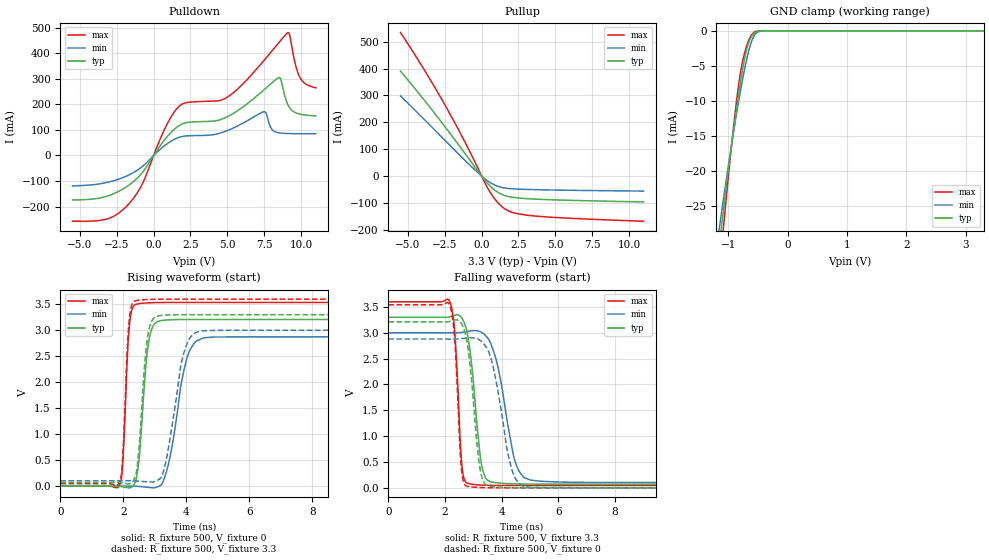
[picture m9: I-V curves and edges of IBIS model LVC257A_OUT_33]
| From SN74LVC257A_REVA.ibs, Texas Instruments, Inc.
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[Model]   LVC257A_OUT_33
Model_type  3-state
Enable   Active-Low
Vref =   0
Rref =   500
Cref =   50p
Vmeas =   1.5
| variable   typ   min   max
C_comp   3.87pF   3.44pF   4.37pF
| C_pullup   5.67pF   3.89pF   6.42pF
| C_pulldown   7.10pF   3.96pF   10.86pF
| C_tri-state   3.87pF   3.44pF   4.37pF
[Temperature Range]   40   100   -40
| Ambient temperature   25   85   -40
[Voltage range]   3.3   3   3.6
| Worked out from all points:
|   slope of the pulldown table from 0 to 0.495 V, typ, clamps not added: 11.7 ohm
|   slope of the pullup table from 0 to 0.495 V, typ, clamps not added: 15.2 ohm
|   GND clamp passes 1 mA (typ) near -0.62 V on its own axis
|   rising waveform, R_fixture 500, V_fixture 0: 20-80 % time 239ps typ, 465ps min, 154ps max; typ from 0 V to 3.21 V
|   falling waveform, R_fixture 500, V_fixture 3.3: 20-80 % time 341ps typ, 565ps min, 194ps max; typ from 3.3 V to 0.071 V
|   rising waveform, R_fixture 500, V_fixture 3.3: 20-80 % time 228ps typ, 444ps min, 150ps max; typ from 0.071 V to 3.3 V
|   falling waveform, R_fixture 500, V_fixture 0: 20-80 % time 328ps typ, 543ps min, 188ps max; typ from 3.21 V to 0 V
[GND Clamp]
| LVC257A_OUT_33
|   Voltage   I(typ)   I(min)   I(max)
-5.5V     -447.4mA   -374mA     -553.8mA
-1.145V   -30.24mA   -27.87mA   -34.04mA
-1.105V   -27.35mA   -25.48mA   -30.34mA
-1.07V    -24.87mA   -23.41mA   -27.18mA
-905mV    -13.87mA   -14.2mA    -13.36mA
-840mV    -9.957mA   -10.85mA   -8.717mA
-795mV    -7.448mA   -8.655mA   -6.079mA
-685mV    -2.54mA    -3.947mA   -2.049mA
-635mV    -1.254mA   -2.275mA   -976.8uA
-575mV    -459.9uA   -885uA     -283.9uA
-420mV    -12.26uA   -23.08uA   -2.327uA
3.3V      65.47pA    907.3nA    32.22pA
[Pulldown]
| LVC257A_OUT_33
|   Voltage   I(typ)   I(min)   I(max)
-5.5V     -174mA     -118.9mA   -257mA
-2.09V    -131.3mA   -86.3mA    -212.4mA
-850mV    -72.3mA    -46.97mA   -120.3mA
685mV     57.04mA    35.88mA    96.01mA
1.64V     113.4mA    69.22mA    187.4mA
4.87V     147.9mA    94.37mA    223.8mA
7.5V      257.4mA    171.2mA    372.5mA
8.005V    282.8mA    103.5mA    407.2mA
8.505V    304.5mA    88.64mA    441.8mA
9.1V      199.6mA    85.91mA    479.9mA
9.905V    162.1mA    85.09mA    307.5mA
11V       154.7mA    85.22mA    264.7mA
[Pullup]
| LVC257A_OUT_33
|   Voltage   I(typ)   I(min)   I(max)
-5.5V     390.3mA    298mA      533.9mA
-3.93V    285.2mA    212.8mA    398.9mA
-2.465V   182.3mA    131.8mA    262.5mA
-1.17V    87.54mA    60.83mA    131mA
15mV      -1.121mA   -739.4uA   -1.785mA
370mV     -25.16mA   -16.4mA    -40.42mA
730mV     -44.72mA   -28.76mA   -72.63mA
1.095V    -59.77mA   -37.78mA   -98.31mA
1.46V     -70.17mA   -43.42mA   -117.2mA
2.185V    -79.55mA   -47.62mA   -136.6mA
3.475V    -85.23mA   -50.32mA   -147.9mA
11V       -96.33mA   -55.93mA   -168.3mA
[Ramp]
| LVC257A_OUT_33
| variable   typ   min   max
dV/dt_r   1.95/2.48E-10   1.75/4.92E-10   2.14/1.63E-10
dV/dt_f   1.97/3.60E-10   1.77/5.91E-10   2.16/2.05E-10
R_load = 500
[Rising Waveform]
| LVC257A_OUT_33
R_fixture =   500
C_fixture =   0
L_fixture =   0
V_fixture =   0
V_fixture_min = 0
V_fixture_max = 0
|   Time   V(typ)   V(min)   V(max)
0s        322.3pV    4.244nV    93.37pV
1.875ns   -3.723mV   322.7uV    16.85mV
1.98ns    -14.42mV   789.3uV    490mV
2.185ns   -33.92mV   1.409mV    3.073V
2.42ns    176.6mV    -3.442mV   3.505V
2.79ns    2.736V     -24.91mV   3.529V
3.2ns     3.187V     18.54mV    3.535V
4ns       3.208V     2.432V     3.537V
4.56ns    3.209V     2.856V     3.537V
24.99ns   3.208V     2.873V     3.537V
[Falling Waveform]
| LVC257A_OUT_33
R_fixture =   500
C_fixture =   0
L_fixture =   0
V_fixture =   3.3
V_fixture_min = 3
V_fixture_max = 3.6
|   Time   V(typ)   V(min)   V(max)
0s        3.3V       3V         3.6V
2.165ns   3.307V     2.998V     3.608V
2.35ns    3.341V     2.998V     2.979V
2.6ns     3.282V     3.008V     424.1mV
2.81ns    2.926V     3.028V     84.41mV
3.27ns    524.3mV    3.014V     54.22mV
3.62ns    114.7mV    2.787V     48.54mV
4.465ns   77.5mV     533.9mV    46.2mV
5.035ns   72.83mV    149.8mV    46.06mV
24.99ns   71.2mV     101.1mV    45.94mV
[Rising Waveform]
| LVC257A_OUT_33
R_fixture =   500
C_fixture =   0
L_fixture =   0
V_fixture =   3.3
V_fixture_min = 3
V_fixture_max = 3.6
|   Time   V(typ)   V(min)   V(max)
0s        71.18mV    101.1mV    45.94mV
1.87ns    67.7mV     101.3mV    64.58mV
1.975ns   57.85mV    101.7mV    546.5mV
2.18ns    44.1mV     102.2mV    3.181V
2.415ns   286mV      97.57mV    3.573V
2.755ns   2.828V     82.67mV    3.592V
3.095ns   3.278V     115.5mV    3.598V
3.925ns   3.3V       2.58V      3.6V
4.465ns   3.301V     2.984V     3.6V
24.99ns   3.3V       3V         3.6V
[Falling Waveform]
| LVC257A_OUT_33
R_fixture =   500
C_fixture =   0
L_fixture =   0
V_fixture =   0
V_fixture_min = 0
V_fixture_max = 0
|   Time   V(typ)   V(min)   V(max)
0s        3.212V     2.88V      3.54V
2.16ns    3.219V     2.878V     3.54V
2.335ns   3.245V     2.878V     2.938V
2.585ns   3.174V     2.887V     348.1mV
2.81ns    2.72V      2.901V     25.41mV
3.355ns   135.6mV    2.799V     4.454mV
3.72ns    18.22mV    2.297V     1.242mV
4.355ns   3.907mV    370.4mV    70.15uV
4.775ns   1.286mV    29.7mV     14.71uV
24.99ns   19.39uV    42.77uV    8.557uV
